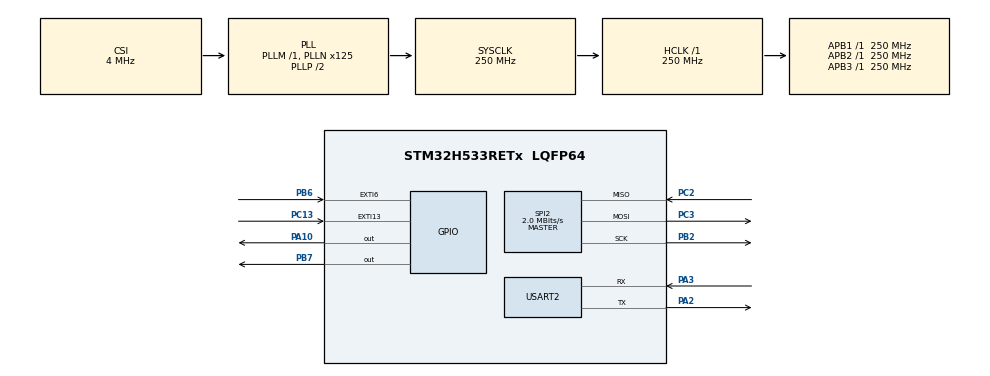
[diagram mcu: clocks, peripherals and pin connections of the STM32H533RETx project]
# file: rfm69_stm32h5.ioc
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BOOTPATH.BootPathName=LEGACY
BOOTPATH.UserSelectedBootPath=LEGACY
CORTEX_M33_NS.userName=CORTEX_M33
GPDMA1.DESTBURSTLENGTH_GPDMACH2=4
GPDMA1.DESTDATAWIDTH_GPDMACH2=DMA_DEST_DATAWIDTH_WORD
GPDMA1.DESTINC_GPDMACH1=DMA_DINC_INCREMENTED
GPDMA1.DESTINC_GPDMACH2=DMA_DINC_INCREMENTED
GPDMA1.IPHANDLE_GPDMACH0-SIMPLEREQUEST_GPDMACH0=__NULL
GPDMA1.IPHANDLE_GPDMACH1-SIMPLEREQUEST_GPDMACH1=__NULL
GPDMA1.PRIORITY_GPDMACH0=DMA_LOW_PRIORITY_LOW_WEIGHT
GPDMA1.PRIORITY_GPDMACH1=DMA_LOW_PRIORITY_LOW_WEIGHT
GPDMA1.PRIORITY_GPDMACH2=DMA_LOW_PRIORITY_MID_WEIGHT
GPDMA1.REQUEST_GPDMACH0=GPDMA1_REQUEST_USART2_TX
GPDMA1.REQUEST_GPDMACH1=GPDMA1_REQUEST_USART2_RX
GPDMA1.SRCDATAWIDTH_GPDMACH2=DMA_SRC_DATAWIDTH_WORD
GPDMA1.SRCINC_GPDMACH0=DMA_SINC_INCREMENTED
Mcu.Family=STM32H5
Mcu.Name=STM32H533RETx
Mcu.Package=LQFP64
NVIC.GPDMA1_Channel0_IRQn=true\:1\:0\:true\:false\:true\:false\:true\:true
NVIC.GPDMA1_Channel1_IRQn=true\:1\:0\:true\:false\:true\:false\:true\:true
NVIC.GPDMA1_Channel2_IRQn=true\:1\:0\:true\:false\:true\:true\:true\:true
NVIC.PriorityGroup=NVIC_PRIORITYGROUP_4
NVIC.USART2_IRQn=true\:1\:0\:true\:false\:true\:true\:true\:true
PA10.GPIO_Speed=GPIO_SPEED_FREQ_HIGH
PA10.Signal=GPIO_Output
PA13(JTMS/SWDIO).GPIO_Label=SWDIO
PA13(JTMS/SWDIO).Signal=DEBUG_JTMS-SWDIO
PA14(JTCK/SWCLK).GPIO_Label=SWCLK
PA14(JTCK/SWCLK).Signal=DEBUG_JTCK-SWCLK
PA15(JTDI).GPIO_Label=JTDI
PA15(JTDI).Signal=DEBUG_JTDI
PA2.Mode=Asynchronous
PA2.Signal=USART2_TX
PA3.Mode=Asynchronous
PA3.Signal=USART2_RX
PA5.Signal=S_TIM2_CH1
PB2.Mode=Full_Duplex_Master
PB2.Signal=SPI2_SCK
PB3(JTDO/TRACESWO).Signal=S_TIM2_CH2
PB6.Signal=GPXTI6
PB7.GPIO_Speed=GPIO_SPEED_FREQ_HIGH
PB7.Signal=GPIO_Output
PC13.Signal=GPXTI13
PC14-OSC32_IN(OSC32_IN).Mode=LSE-External-Oscillator
PC14-OSC32_IN(OSC32_IN).Signal=RCC_OSC32_IN
PC15-OSC32_OUT(OSC32_OUT).Mode=LSE-External-Oscillator
PC15-OSC32_OUT(OSC32_OUT).Signal=RCC_OSC32_OUT
PC2.Mode=Full_Duplex_Master
PC2.Signal=SPI2_MISO
PC3.Mode=Full_Duplex_Master
PC3.Signal=SPI2_MOSI
PH0-OSC_IN(PH0).Mode=HSE-External-Oscillator
PH0-OSC_IN(PH0).Signal=RCC_OSC_IN
PH1-OSC_OUT(PH1).Mode=HSE-External-Oscillator
PH1-OSC_OUT(PH1).Signal=RCC_OSC_OUT
ProjectManager.HeapSize=0x200
ProjectManager.StackSize=0x400
ProjectManager.TargetToolchain=CMake
RCC.ADCFreq_Value=250000000
RCC.AHBFreq_Value=250000000
RCC.APB1Freq_Value=250000000
RCC.APB1TimFreq_Value=250000000
RCC.APB2Freq_Value=250000000
RCC.APB2TimFreq_Value=250000000
RCC.APB3Freq_Value=250000000
RCC.CSI_VALUE=4000000
RCC.CortexFreq_Value=250000000
RCC.DACLowPowerCLockSelection=RCC_DACLPCLKSOURCE_LSI
RCC.EPOD_VALUE=4000000
RCC.HCLKFreq_Value=250000000
RCC.HSE_VALUE=25000000
RCC.HSI48_VALUE=48000000
RCC.HSI_VALUE=64000000
RCC.LSIRC_VALUE=32000
RCC.PLL1Q=3
RCC.PLL2FRACN=0
RCC.PLL3FRACN=0
RCC.PLLFRACN=0
RCC.PLLN=125
RCC.SPI2CLockSelection=RCC_SPI2CLKSOURCE_CLKP
RCC.SYSCLKFreq_VALUE=250000000
RCC.SYSCLKSource=RCC_SYSCLKSOURCE_PLLCLK
RCC.USBFreq_Value=48000000
RCC.VCOOutputFreq_Value=500000000
SH.S_TIM2_CH1.0=TIM2_CH1
SH.S_TIM2_CH2.0=TIM2_CH2
SPI2.BaudRatePrescaler=SPI_BAUDRATEPRESCALER_16
SPI2.CalculateBaudRate=2.0 MBits/s
SPI2.DataSize=SPI_DATASIZE_8BIT
SPI2.Direction=SPI_DIRECTION_2LINES
SPI2.Mode=SPI_MODE_MASTER
SPI2.NSSPMode=SPI_NSS_PULSE_DISABLE
SPI2.VirtualType=VM_MASTER
USART2.VirtualMode-Asynchronous=VM_ASYNC
VP_BOOTPATH_VS_BOOTPATH.Mode=BP_Activate
VP_CORTEX_M33_NS_VS_Hclk.Mode=Hclk_Mode
VP_DCACHE1_VS_DCACHE.Mode=DCACHE_Activate
VP_GPDMA1_VS_GPDMACH0.Mode=SIMPLEREQUEST_GPDMACH0
VP_GPDMA1_VS_GPDMACH1.Mode=SIMPLEREQUEST_GPDMACH1
VP_GPDMA1_VS_GPDMACH2.Mode=SIMPLEREQUEST_GPDMACH2
VP_ICACHE_VS_ICACHE.Mode=DirectMappedCache
VP_MEMORYMAP_VS_MEMORYMAP.Mode=CurAppReg
VP_PWR_VS_LPOM.Mode=PowerOptimisation
VP_PWR_VS_SECSignals.Mode=Security/Privilege
board=NUCLEO-H533RE

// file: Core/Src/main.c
/* USER CODE BEGIN Header */
/**
  ******************************************************************************
  * @file           : main.c
  * @brief          : Main program body
  ******************************************************************************
  * @attention
  *
  * Copyright (c) 2025 STMicroelectronics.
  * All rights reserved.
  *
  * This software is licensed under terms that can be found in the LICENSE file
  * in the root directory of this software component.
  * If no LICENSE file comes with this software, it is provided AS-IS.
  *
  ******************************************************************************
  */
/* USER CODE END Header */
#include "main.h"

/* USER CODE BEGIN Includes */
#include <unistd.h>
#include <sys/stat.h>
/* USER CODE END Includes */

/* USER CODE BEGIN PM */
#define UART_DMA_TX_WAIT() 	while(UART_TX_inUse==1);
#define printf_dma(...)     UART_DMA_TX_WAIT(); \
                            sprintf_len=sprintf((char*)TxBuffer, __VA_ARGS__ ); \
                            HAL_UART_Transmit_DMA(&huart2, TxBuffer, sprintf_len); \
                            UART_TX_inUse=1;
/* USER CODE END PM */

DCACHE_HandleTypeDef hdcache1;

DMA_HandleTypeDef handle_GPDMA1_Channel2;

SPI_HandleTypeDef hspi2;

UART_HandleTypeDef huart2;
DMA_HandleTypeDef handle_GPDMA1_Channel1;
DMA_HandleTypeDef handle_GPDMA1_Channel0;

/* USER CODE BEGIN PV */

// UART DMA Tx PVs
uint8_t TxBuffer[100];
volatile uint16_t Counter      = 0;
volatile uint8_t UART_TX_inUse = 0;
volatile uint16_t sprintf_len  = 0;

// UART DMA Rx PVs
uint8_t RxBuffer[100];
volatile uint16_t size=0;
volatile uint8_t RxDone=0;
uint32_t zero = 0;

// Example PVs
uint8_t main_sem = 0;
uint32_t number1 = 0;

/* USER CODE END PV */

void SystemClock_Config(void);
void PeriphCommonClock_Config(void);
static void MX_GPIO_Init(void);
static void MX_GPDMA1_Init(void);
static void MX_DCACHE1_Init(void);
static void MX_USART2_UART_Init(void);
static void MX_ICACHE_Init(void);
static void MX_SPI2_Init(void);
/* USER CODE BEGIN PFP */
extern void RadioLib_Init(void);
extern void RadioLib_Loop(void);
/* USER CODE END PFP */

/* USER CODE BEGIN 0 */

int _write(int file, char *ptr, int len) {
    // Route stdout and stderr to UART2
    if (file == STDOUT_FILENO || file == STDERR_FILENO) {
        // Blocking transmit is simplest and matches _write semantics
        UART_DMA_TX_WAIT();
        HAL_UART_Transmit_DMA(&huart2, (uint8_t *)ptr, len);
        UART_TX_inUse=1;
        return len;
    }

    // Unsupported file descriptor
    return 0;
}

void HAL_UART_TxCpltCallback(UART_HandleTypeDef *huart)
{
	UART_TX_inUse=0;
}

void HAL_UARTEx_RxEventCallback(UART_HandleTypeDef *huart, uint16_t Size)
{

  sscanf((const char*)RxBuffer, "%lu\n", (unsigned long *)&number1);
  main_sem = 1;

  // Zero the RxBuffer
  HAL_DMA_Start_IT(&handle_GPDMA1_Channel2,
                  (uint32_t)&zero,
                  (uint32_t)RxBuffer,
                  100);
}

void DMA_BufferZero_Cplt(DMA_HandleTypeDef *hdma)
{
  HAL_UARTEx_ReceiveToIdle_DMA(&huart2, RxBuffer, 100);
}

/* USER CODE END 0 */

int main(void)
{

  /* MCU Configuration--------------------------------------------------------*/

  /* Reset of all peripherals, Initializes the Flash interface and the Systick. */
  HAL_Init();

  /* Configure the system clock */
  SystemClock_Config();

  /* Configure the peripherals common clocks */
  PeriphCommonClock_Config();

  /* Initialize all configured peripherals */
  MX_GPIO_Init();
  MX_GPDMA1_Init();
  MX_DCACHE1_Init();
  MX_USART2_UART_Init();
  MX_ICACHE_Init();
  MX_SPI2_Init();
  /* USER CODE BEGIN 2 */

  printf_dma("STM HAL2 initialized!!\n");
  RadioLib_Init();

  /* USER CODE END 2 */

  /* Infinite loop */
  /* USER CODE BEGIN WHILE */
  while (1)
  {
    RadioLib_Loop();
    /* USER CODE END WHILE */

  }
}

void SystemClock_Config(void)
{
  RCC_OscInitTypeDef RCC_OscInitStruct = {0};
  RCC_ClkInitTypeDef RCC_ClkInitStruct = {0};

  /** Configure the main internal regulator output voltage
  */
  __HAL_PWR_VOLTAGESCALING_CONFIG(PWR_REGULATOR_VOLTAGE_SCALE0);

  while(!__HAL_PWR_GET_FLAG(PWR_FLAG_VOSRDY)) {}

  /** Initializes the RCC Oscillators according to the specified parameters
  * in the RCC_OscInitTypeDef structure.
  */
  RCC_OscInitStruct.OscillatorType = RCC_OSCILLATORTYPE_HSI|RCC_OSCILLATORTYPE_CSI;
  RCC_OscInitStruct.HSIState = RCC_HSI_ON;
  RCC_OscInitStruct.HSIDiv = RCC_HSI_DIV2;
  RCC_OscInitStruct.HSICalibrationValue = RCC_HSICALIBRATION_DEFAULT;
  RCC_OscInitStruct.CSIState = RCC_CSI_ON;
  RCC_OscInitStruct.CSICalibrationValue = RCC_CSICALIBRATION_DEFAULT;
  RCC_OscInitStruct.PLL.PLLState = RCC_PLL_ON;
  RCC_OscInitStruct.PLL.PLLSource = RCC_PLL1_SOURCE_CSI;
  RCC_OscInitStruct.PLL.PLLM = 1;
  RCC_OscInitStruct.PLL.PLLN = 125;
  RCC_OscInitStruct.PLL.PLLP = 2;
  RCC_OscInitStruct.PLL.PLLQ = 3;
  RCC_OscInitStruct.PLL.PLLR = 2;
  RCC_OscInitStruct.PLL.PLLRGE = RCC_PLL1_VCIRANGE_2;
  RCC_OscInitStruct.PLL.PLLVCOSEL = RCC_PLL1_VCORANGE_WIDE;
  RCC_OscInitStruct.PLL.PLLFRACN = 0;
  if (HAL_RCC_OscConfig(&RCC_OscInitStruct) != HAL_OK)
  {
    Error_Handler();
  }

  /** Initializes the CPU, AHB and APB buses clocks
  */
  RCC_ClkInitStruct.ClockType = RCC_CLOCKTYPE_HCLK|RCC_CLOCKTYPE_SYSCLK
                              |RCC_CLOCKTYPE_PCLK1|RCC_CLOCKTYPE_PCLK2
                              |RCC_CLOCKTYPE_PCLK3;
  RCC_ClkInitStruct.SYSCLKSource = RCC_SYSCLKSOURCE_PLLCLK;
  RCC_ClkInitStruct.AHBCLKDivider = RCC_SYSCLK_DIV1;
  RCC_ClkInitStruct.APB1CLKDivider = RCC_HCLK_DIV1;
  RCC_ClkInitStruct.APB2CLKDivider = RCC_HCLK_DIV1;
  RCC_ClkInitStruct.APB3CLKDivider = RCC_HCLK_DIV1;

  if (HAL_RCC_ClockConfig(&RCC_ClkInitStruct, FLASH_LATENCY_5) != HAL_OK)
  {
    Error_Handler();
  }

  /** Configure the programming delay
  */
  __HAL_FLASH_SET_PROGRAM_DELAY(FLASH_PROGRAMMING_DELAY_2);
}

void PeriphCommonClock_Config(void)
{
  RCC_PeriphCLKInitTypeDef PeriphClkInitStruct = {0};

  /** Initializes the peripherals clock
  */
  PeriphClkInitStruct.PeriphClockSelection = RCC_PERIPHCLK_CKPER;
  PeriphClkInitStruct.CkperClockSelection = RCC_CLKPSOURCE_HSI;
  if (HAL_RCCEx_PeriphCLKConfig(&PeriphClkInitStruct) != HAL_OK)
  {
    Error_Handler();
  }
}

static void MX_DCACHE1_Init(void)
{

  hdcache1.Instance = DCACHE1;
  hdcache1.Init.ReadBurstType = DCACHE_READ_BURST_WRAP;
  if (HAL_DCACHE_Init(&hdcache1) != HAL_OK)
  {
    Error_Handler();
  }

}

static void MX_GPDMA1_Init(void)
{

  /* Peripheral clock enable */
  __HAL_RCC_GPDMA1_CLK_ENABLE();

  /* GPDMA1 interrupt Init */
    HAL_NVIC_SetPriority(GPDMA1_Channel0_IRQn, 1, 0);
    HAL_NVIC_EnableIRQ(GPDMA1_Channel0_IRQn);
    HAL_NVIC_SetPriority(GPDMA1_Channel1_IRQn, 1, 0);
    HAL_NVIC_EnableIRQ(GPDMA1_Channel1_IRQn);
    HAL_NVIC_SetPriority(GPDMA1_Channel2_IRQn, 1, 0);
    HAL_NVIC_EnableIRQ(GPDMA1_Channel2_IRQn);

  handle_GPDMA1_Channel2.Instance = GPDMA1_Channel2;
  handle_GPDMA1_Channel2.Init.Request = DMA_REQUEST_SW;
  handle_GPDMA1_Channel2.Init.BlkHWRequest = DMA_BREQ_SINGLE_BURST;
  handle_GPDMA1_Channel2.Init.Direction = DMA_MEMORY_TO_MEMORY;
  handle_GPDMA1_Channel2.Init.SrcInc = DMA_SINC_FIXED;
  handle_GPDMA1_Channel2.Init.DestInc = DMA_DINC_INCREMENTED;
  handle_GPDMA1_Channel2.Init.SrcDataWidth = DMA_SRC_DATAWIDTH_WORD;
  handle_GPDMA1_Channel2.Init.DestDataWidth = DMA_DEST_DATAWIDTH_WORD;
  handle_GPDMA1_Channel2.Init.Priority = DMA_LOW_PRIORITY_MID_WEIGHT;
  handle_GPDMA1_Channel2.Init.SrcBurstLength = 1;
  handle_GPDMA1_Channel2.Init.DestBurstLength = 4;
  handle_GPDMA1_Channel2.Init.TransferAllocatedPort = DMA_SRC_ALLOCATED_PORT0|DMA_DEST_ALLOCATED_PORT0;
  handle_GPDMA1_Channel2.Init.TransferEventMode = DMA_TCEM_BLOCK_TRANSFER;
  handle_GPDMA1_Channel2.Init.Mode = DMA_NORMAL;
  if (HAL_DMA_Init(&handle_GPDMA1_Channel2) != HAL_OK)
  {
    Error_Handler();
  }
  if (HAL_DMA_ConfigChannelAttributes(&handle_GPDMA1_Channel2, DMA_CHANNEL_NPRIV) != HAL_OK)
  {
    Error_Handler();
  }

}

static void MX_ICACHE_Init(void)
{

  /** Enable instruction cache in 1-way (direct mapped cache)
  */
  if (HAL_ICACHE_ConfigAssociativityMode(ICACHE_1WAY) != HAL_OK)
  {
    Error_Handler();
  }
  if (HAL_ICACHE_Enable() != HAL_OK)
  {
    Error_Handler();
  }

}

static void MX_SPI2_Init(void)
{

  /* SPI2 parameter configuration*/
  hspi2.Instance = SPI2;
  hspi2.Init.Mode = SPI_MODE_MASTER;
  hspi2.Init.Direction = SPI_DIRECTION_2LINES;
  hspi2.Init.DataSize = SPI_DATASIZE_8BIT;
  hspi2.Init.CLKPolarity = SPI_POLARITY_LOW;
  hspi2.Init.CLKPhase = SPI_PHASE_1EDGE;
  hspi2.Init.NSS = SPI_NSS_SOFT;
  hspi2.Init.BaudRatePrescaler = SPI_BAUDRATEPRESCALER_16;
  hspi2.Init.FirstBit = SPI_FIRSTBIT_MSB;
  hspi2.Init.TIMode = SPI_TIMODE_DISABLE;
  hspi2.Init.CRCCalculation = SPI_CRCCALCULATION_DISABLE;
  hspi2.Init.CRCPolynomial = 0x7;
  hspi2.Init.NSSPMode = SPI_NSS_PULSE_DISABLE;
  hspi2.Init.NSSPolarity = SPI_NSS_POLARITY_LOW;
  hspi2.Init.FifoThreshold = SPI_FIFO_THRESHOLD_01DATA;
  hspi2.Init.MasterSSIdleness = SPI_MASTER_SS_IDLENESS_00CYCLE;
  hspi2.Init.MasterInterDataIdleness = SPI_MASTER_INTERDATA_IDLENESS_00CYCLE;
  hspi2.Init.MasterReceiverAutoSusp = SPI_MASTER_RX_AUTOSUSP_DISABLE;
  hspi2.Init.MasterKeepIOState = SPI_MASTER_KEEP_IO_STATE_DISABLE;
  hspi2.Init.IOSwap = SPI_IO_SWAP_DISABLE;
  hspi2.Init.ReadyMasterManagement = SPI_RDY_MASTER_MANAGEMENT_INTERNALLY;
  hspi2.Init.ReadyPolarity = SPI_RDY_POLARITY_HIGH;
  if (HAL_SPI_Init(&hspi2) != HAL_OK)
  {
    Error_Handler();
  }

}

static void MX_USART2_UART_Init(void)
{

  huart2.Instance = USART2;
  huart2.Init.BaudRate = 115200;
  huart2.Init.WordLength = UART_WORDLENGTH_8B;
  huart2.Init.StopBits = UART_STOPBITS_1;
  huart2.Init.Parity = UART_PARITY_NONE;
  huart2.Init.Mode = UART_MODE_TX_RX;
  huart2.Init.HwFlowCtl = UART_HWCONTROL_NONE;
  huart2.Init.OverSampling = UART_OVERSAMPLING_16;
  huart2.Init.OneBitSampling = UART_ONE_BIT_SAMPLE_DISABLE;
  huart2.Init.ClockPrescaler = UART_PRESCALER_DIV1;
  huart2.AdvancedInit.AdvFeatureInit = UART_ADVFEATURE_NO_INIT;
  if (HAL_UART_Init(&huart2) != HAL_OK)
  {
    Error_Handler();
  }
  if (HAL_UARTEx_SetTxFifoThreshold(&huart2, UART_TXFIFO_THRESHOLD_1_8) != HAL_OK)
  {
    Error_Handler();
  }
  if (HAL_UARTEx_SetRxFifoThreshold(&huart2, UART_RXFIFO_THRESHOLD_1_8) != HAL_OK)
  {
    Error_Handler();
  }
  if (HAL_UARTEx_DisableFifoMode(&huart2) != HAL_OK)
  {
    Error_Handler();
  }

}

static void MX_GPIO_Init(void)
{
  GPIO_InitTypeDef GPIO_InitStruct = {0};

  /* GPIO Ports Clock Enable */
  __HAL_RCC_GPIOC_CLK_ENABLE();
  __HAL_RCC_GPIOH_CLK_ENABLE();
  __HAL_RCC_GPIOA_CLK_ENABLE();
  __HAL_RCC_GPIOB_CLK_ENABLE();

  /*Configure GPIO pin Output Level */
  HAL_GPIO_WritePin(GPIOA, GPIO_PIN_10, GPIO_PIN_RESET);

  /*Configure GPIO pin Output Level */
  HAL_GPIO_WritePin(GPIOB, GPIO_PIN_7, GPIO_PIN_RESET);

  /*Configure GPIO pin : PC13 */
  GPIO_InitStruct.Pin = GPIO_PIN_13;
  GPIO_InitStruct.Mode = GPIO_MODE_IT_RISING;
  GPIO_InitStruct.Pull = GPIO_NOPULL;
  HAL_GPIO_Init(GPIOC, &GPIO_InitStruct);

  /*Configure GPIO pin : PA5 */
  GPIO_InitStruct.Pin = GPIO_PIN_5;
  GPIO_InitStruct.Mode = GPIO_MODE_AF_PP;
  GPIO_InitStruct.Pull = GPIO_NOPULL;
  GPIO_InitStruct.Speed = GPIO_SPEED_FREQ_LOW;
  GPIO_InitStruct.Alternate = GPIO_AF1_TIM2;
  HAL_GPIO_Init(GPIOA, &GPIO_InitStruct);

  /*Configure GPIO pin : PA10 */
  GPIO_InitStruct.Pin = GPIO_PIN_10;
  GPIO_InitStruct.Mode = GPIO_MODE_OUTPUT_PP;
  GPIO_InitStruct.Pull = GPIO_NOPULL;
  GPIO_InitStruct.Speed = GPIO_SPEED_FREQ_HIGH;
  HAL_GPIO_Init(GPIOA, &GPIO_InitStruct);

  /*Configure GPIO pin : PB3 */
  GPIO_InitStruct.Pin = GPIO_PIN_3;
  GPIO_InitStruct.Mode = GPIO_MODE_AF_PP;
  GPIO_InitStruct.Pull = GPIO_NOPULL;
  GPIO_InitStruct.Speed = GPIO_SPEED_FREQ_LOW;
  GPIO_InitStruct.Alternate = GPIO_AF1_TIM2;
  HAL_GPIO_Init(GPIOB, &GPIO_InitStruct);

  /*Configure GPIO pin : PB6 */
  GPIO_InitStruct.Pin = GPIO_PIN_6;
  GPIO_InitStruct.Mode = GPIO_MODE_IT_RISING;
  GPIO_InitStruct.Pull = GPIO_NOPULL;
  HAL_GPIO_Init(GPIOB, &GPIO_InitStruct);

  /*Configure GPIO pin : PB7 */
  GPIO_InitStruct.Pin = GPIO_PIN_7;
  GPIO_InitStruct.Mode = GPIO_MODE_OUTPUT_PP;
  GPIO_InitStruct.Pull = GPIO_NOPULL;
  GPIO_InitStruct.Speed = GPIO_SPEED_FREQ_HIGH;
  HAL_GPIO_Init(GPIOB, &GPIO_InitStruct);

}

void Error_Handler(void)
{
  __disable_irq();
  while (1)
  {
  }
}
